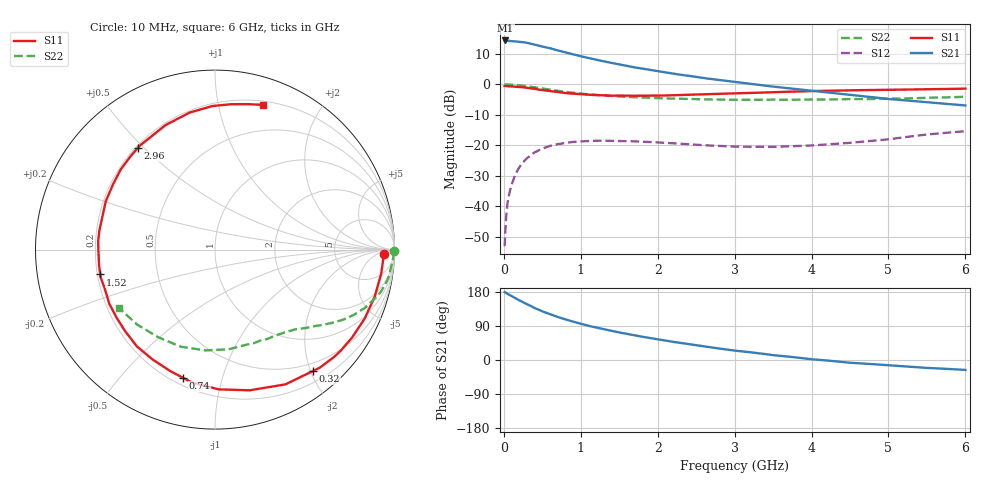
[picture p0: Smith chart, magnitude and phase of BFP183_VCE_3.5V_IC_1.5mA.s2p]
! Infineon Technologies  Discrete & RF Semiconductors
! BFP183
! VCE = 3.5 V,  IC =  1.5 mA
! Common Emitter S-Parameters:  Jan 2016
# GHz  S  MA  R  50
!  f  S11  S21  S12  S22
! GHz  MAG  ANG  MAG  ANG  MAG  ANG  MAG  ANG
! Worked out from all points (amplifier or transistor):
!   210 points, 10 MHz to 6 GHz, reference 50 ohm
!   highest |S21| = 14.4 dB at 20 MHz (marker M1)
!   |S21| within 3 dB of that: start of sweep to 661.6 MHz
!   unconditionally stable (mu >= 1): 2.26 GHz to 5.956 GHz
!   at 185 MHz: K = 0.08, MSG = 21.0 dB, |S12| = -27.9 dB
!   at 1.52 GHz: K = 0.65, MSG = 12.6 dB, |S12| = -18.6 dB
!   at 6 GHz: K = 0.99, MSG = 4.2 dB, |S12| = -15.4 dB
!   S11 on the Smith chart (normalised r, x): 10 MHz: 27, -13; 320 MHz: 0.37, -2.04; 740 MHz: 0.24, -0.75; 1.52 GHz: 0.21, -0.10; 2.96 GHz: 0.21, +0.48; 6 GHz: 0.23, +1.36
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0.01  0.9411 -1.6  5.208 179.2  0.0022 82.4  0.9995 -0.6
0.02  0.9387 -3.4  5.259 178.3  0.004 83.4  0.9978 -1.2
0.03  0.9369 -5.0  5.237 177.0  0.0066 85.7  0.9963 -1.8
0.05  0.9355 -8.3  5.201 174.3  0.0117 87.2  0.9935 -3.0
0.11  0.9244 -18.0  5.102 167.7  0.0243 79.5  0.9842 -6.6
0.155  0.9164 -25.5  5.076 162.6  0.034 74.8  0.9782 -9.3
0.24  0.8988 -38.9  4.931 153.3  0.0505 67.5  0.9556 -13.9
0.32  0.8693 -51.0  4.744 145.6  0.0641 60.6  0.925 -17.7
0.4  0.8473 -62.4  4.504 137.3  0.0765 54.7  0.8958 -21.3
0.5  0.8075 -76.1  4.174 128.4  0.088 47.6  0.8558 -25.1
0.6  0.779 -88.5  3.923 120.7  0.0976 41.2  0.8182 -28.3
0.74  0.7362 -104.0  3.509 111.1  0.1062 34.1  0.7708 -31.9
0.9  0.7038 -119.7  3.115 101.2  0.1135 27.5  0.7276 -35.3
1.02  0.6882 -130.6  2.859 94.6  0.1161 23.1  0.7009 -37.4
1.22  0.6646 -146.9  2.508 84.8  0.1187 16.8  0.6681 -40.8
1.52  0.6544 -167.8  2.108 71.9  0.117 10.6  0.6283 -45.2
2.02  0.6533 164.2  1.631 53.9  0.111 4.7  0.593 -52.8
2.96  0.7113 127.1  1.115 25.9  0.0955 5.7  0.5593 -70.5
3.1  0.7175 122.9  1.06 22.7  0.0947 7.3  0.5571 -73.6
4.1  0.7793 98.6  0.762 0.4  0.1012 19.3  0.5633 -98.3
5.1  0.817 82.5  0.562 -15.2  0.1301 26.5  0.5832 -125.6
6  0.85 71.5  0.45 -26.1  0.1702 22.1  0.6263 -148.7
